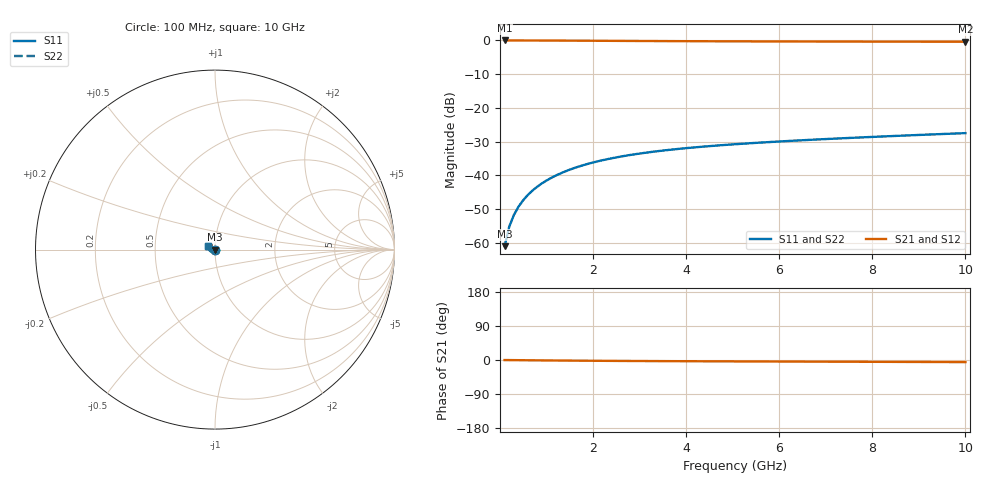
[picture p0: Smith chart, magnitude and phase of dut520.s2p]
! Touchstone file exported from HFSS 2024.1.0
!  File:  C:/UserFiles/LocalFiles/RDL_TSV_Batchsim/temp_TSV1_520_1779703518.aedt
!  Generated:  06:12:14 PM May 25, 2026
!  Design:  TSV1
!  Project:  temp_TSV1_520_1779703518
!  Setup:  Setup1
!  Solution:  Sweep
! Variables:
!  dtsv = 7.46um
!  hbump = 3um
!  htsv = 83.94um
!  lrdl = 252.1521522um
!  p = 40
!  p1 = 52.82um
!  t = 500um
!  trdl = 3um
!  wrdl = 24.89489489um
# GHz S MA R 50.000000
! Terminal data exported
! Port[1] = TSV22_T1
! Port[2] = TSV22_T2
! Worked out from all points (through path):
!   100 points, 100 MHz to 10 GHz, reference 50 ohm
!   highest |S21| = 0.00 dB at 100 MHz (marker M1); lowest = -0.4 dB at 10 GHz (marker M2)
!   lowest |S11| = -60.9 dB at 100 MHz (marker M3), VSWR 1.00, Z = 50 - j0.0866 ohm
!   |S11| at or under -10 dB: start of sweep to end of sweep
!   |S22| runs from -60.9 to -27.5 dB; largest |S21 - S12| = 1.4e-14
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0.1  0.0008971 -74.8  0.9997 -0.1  0.9997 -0.1  0.0008971 -74.8
! Gamma 0 0 0 0
! Port Impedance 50 0 50 0
0.2  0.001748 -85.3  0.9996 -0.2  0.9996 -0.2  0.001748 -85.3
0.3  0.002605 -90.3  0.9994 -0.4  0.9994 -0.4  0.002605 -90.3
0.4  0.003461 -93.9  0.9992 -0.5  0.9992 -0.5  0.003461 -93.9
0.5  0.00431 -96.8  0.9989 -0.6  0.9989 -0.6  0.00431 -96.8
0.6  0.005153 -99.5  0.9986 -0.7  0.9986 -0.7  0.005153 -99.5
0.7  0.005986 -102.0  0.9982 -0.8  0.9982 -0.8  0.005986 -102.0
0.8  0.00681 -104.3  0.9977 -0.9  0.9977 -0.9  0.00681 -104.3
0.9  0.007621 -106.6  0.9972 -1.0  0.9972 -1.0  0.007621 -106.6
1.1  0.009206 -110.9  0.9961 -1.2  0.9961 -1.2  0.009206 -110.9
1.4  0.01147 -117.0  0.9941 -1.5  0.9941 -1.5  0.01147 -117.0
1.6  0.01291 -120.9  0.9927 -1.7  0.9927 -1.7  0.01291 -120.9
1.8  0.01427 -124.6  0.9912 -1.9  0.9912 -1.9  0.01427 -124.6
2.1  0.01619 -130.0  0.9889 -2.1  0.9889 -2.1  0.01619 -130.0
2.5  0.01853 -136.7  0.9857 -2.4  0.9857 -2.4  0.01853 -136.7
2.9  0.02062 -142.9  0.9827 -2.6  0.9827 -2.6  0.02062 -142.9
3.4  0.02295 -150.1  0.9792 -2.9  0.9792 -2.9  0.02295 -150.1
4.2  0.02613 -160.2  0.9743 -3.3  0.9743 -3.3  0.02613 -160.2
5.1  0.02917 -170.0  0.9698 -3.7  0.9698 -3.7  0.02917 -170.0
6.7  0.03381 175.7  0.9641 -4.3  0.9641 -4.3  0.03381 175.7
8.4  0.03828 163.8  0.9601 -4.9  0.9601 -4.9  0.03828 163.8
10  0.04239 154.6  0.9574 -5.5  0.9574 -5.5  0.04238 154.6
